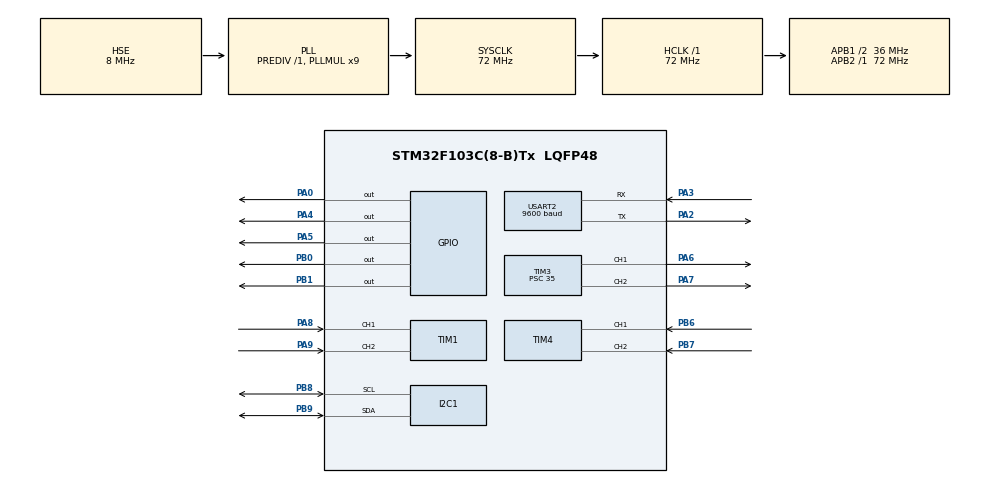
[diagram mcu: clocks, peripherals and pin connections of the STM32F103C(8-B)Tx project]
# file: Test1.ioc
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I2C1.I2C_Mode=I2C_Fast
Mcu.Family=STM32F1
Mcu.Name=STM32F103C(8-B)Tx
Mcu.Package=LQFP48
NVIC.PriorityGroup=NVIC_PRIORITYGROUP_4
NVIC.TIM2_IRQn=true\:0\:0\:false\:false\:true\:true\:true\:true
PA0-WKUP.GPIO_Speed=GPIO_SPEED_FREQ_HIGH
PA0-WKUP.PinState=GPIO_PIN_SET
PA0-WKUP.Signal=GPIO_Output
PA13.Mode=Serial_Wire
PA13.Signal=SYS_JTMS-SWDIO
PA14.Mode=Serial_Wire
PA14.Signal=SYS_JTCK-SWCLK
PA2.Mode=Asynchronous
PA2.Signal=USART2_TX
PA3.Mode=Asynchronous
PA3.Signal=USART2_RX
PA4.GPIO_Speed=GPIO_SPEED_FREQ_HIGH
PA4.Signal=GPIO_Output
PA5.GPIO_Speed=GPIO_SPEED_FREQ_HIGH
PA5.Signal=GPIO_Output
PA6.Signal=S_TIM3_CH1
PA7.Signal=S_TIM3_CH2
PA8.Signal=S_TIM1_CH1
PA9.Signal=S_TIM1_CH2
PB0.GPIO_Speed=GPIO_SPEED_FREQ_HIGH
PB0.PinState=GPIO_PIN_RESET
PB0.Signal=GPIO_Output
PB1.GPIO_Speed=GPIO_SPEED_FREQ_HIGH
PB1.Signal=GPIO_Output
PB6.Signal=S_TIM4_CH1
PB7.Signal=S_TIM4_CH2
PB8.Mode=I2C
PB8.Signal=I2C1_SCL
PB9.Mode=I2C
PB9.Signal=I2C1_SDA
PD0-OSC_IN.Mode=HSE-External-Oscillator
PD0-OSC_IN.Signal=RCC_OSC_IN
PD1-OSC_OUT.Mode=HSE-External-Oscillator
PD1-OSC_OUT.Signal=RCC_OSC_OUT
ProjectManager.HeapSize=0x200
ProjectManager.StackSize=0x400
ProjectManager.TargetToolchain=STM32CubeIDE
RCC.AHBFreq_Value=72000000
RCC.APB1CLKDivider=RCC_HCLK_DIV2
RCC.APB1Freq_Value=36000000
RCC.APB1TimFreq_Value=72000000
RCC.APB2Freq_Value=72000000
RCC.APB2TimFreq_Value=72000000
RCC.HCLKFreq_Value=72000000
RCC.PLLMUL=RCC_PLL_MUL9
RCC.PLLSourceVirtual=RCC_PLLSOURCE_HSE
RCC.SYSCLKFreq_VALUE=72000000
RCC.SYSCLKSource=RCC_SYSCLKSOURCE_PLLCLK
RCC.USBFreq_Value=72000000
SH.S_TIM1_CH1.0=TIM1_CH1,Encoder_Interface
SH.S_TIM1_CH2.0=TIM1_CH2,Encoder_Interface
SH.S_TIM3_CH1.0=TIM3_CH1,PWM Generation1 CH1
SH.S_TIM3_CH2.0=TIM3_CH2,PWM Generation2 CH2
SH.S_TIM4_CH1.0=TIM4_CH1,Encoder_Interface
SH.S_TIM4_CH2.0=TIM4_CH2,Encoder_Interface
TIM1.AutoReloadPreload=TIM_AUTORELOAD_PRELOAD_ENABLE
TIM1.EncoderMode=TIM_ENCODERMODE_TI12
TIM2.AutoReloadPreload=TIM_AUTORELOAD_PRELOAD_ENABLE
TIM2.Period=1000-1
TIM2.Prescaler=7200-1
TIM3.AutoReloadPreload=TIM_AUTORELOAD_PRELOAD_ENABLE
TIM3.Channel-PWM\ Generation1\ CH1=TIM_CHANNEL_1
TIM3.Channel-PWM\ Generation2\ CH2=TIM_CHANNEL_2
TIM3.Period=99
TIM3.Prescaler=35
TIM4.AutoReloadPreload=TIM_AUTORELOAD_PRELOAD_ENABLE
TIM4.EncoderMode=TIM_ENCODERMODE_TI12
USART2.BaudRate=9600
USART2.Mode=MODE_TX
USART2.VirtualMode=VM_ASYNC
VP_TIM2_VS_ClockSourceINT.Mode=Internal
VP_TIM3_VS_ClockSourceINT.Mode=Internal
board=custom

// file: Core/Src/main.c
/* USER CODE BEGIN Header */
/**
  ******************************************************************************
  * @file           : main.c
  * @brief          : Main program body
  ******************************************************************************
  * @attention
  *
  * Copyright (c) 2024 STMicroelectronics.
  * All rights reserved.
  *
  * This software is licensed under terms that can be found in the LICENSE file
  * in the root directory of this software component.
  * If no LICENSE file comes with this software, it is provided AS-IS.
  *
  ******************************************************************************
  */
/* USER CODE END Header */
#include "main.h"
#include "i2c.h"
#include "tim.h"
#include "usart.h"
#include "gpio.h"

/* USER CODE BEGIN Includes */
#include "MPU6050.h"
#include "Motor.h"
//#include "Encoder.h"

/* USER CODE END Includes */

void SystemClock_Config(void);

/* USER CODE BEGIN 0 */
int16_t  Speed1;
int16_t  Speed2;
float  control;

unsigned char tx_data[20];
unsigned char sumcheck = 0;
unsigned char addcheck = 0;
unsigned char i = 0;
/* USER CODE END 0 */

int main(void)
{

  /* MCU Configuration--------------------------------------------------------*/

  /* Reset of all peripherals, Initializes the Flash interface and the Systick. */
  HAL_Init();

  /* Configure the system clock */
  SystemClock_Config();

  /* Initialize all configured peripherals */
  MX_GPIO_Init();
  MX_TIM3_Init();
  MX_USART2_UART_Init();
  MX_TIM2_Init();
  MX_TIM4_Init();
  MX_I2C1_Init();
  MX_TIM1_Init();
  /* USER CODE BEGIN 2 */
    HAL_TIM_PWM_Start(&htim3,  TIM_CHANNEL_1 );

    HAL_TIM_PWM_Start(&htim3,  TIM_CHANNEL_2 );
    HAL_TIM_Encoder_Start(&htim4,TIM_CHANNEL_1|TIM_CHANNEL_2);
    HAL_TIM_Encoder_Start(&htim1,TIM_CHANNEL_1|TIM_CHANNEL_2);
    HAL_TIM_Base_Start_IT(&htim2);

    mpu_dmp_init();
    float pitch,roll,yaw;

   Motor2_SetSpeed(100);

    Motor1_SetSpeed(100);
  /* USER CODE END 2 */

  /* Infinite loop */
  /* USER CODE BEGIN WHILE */
  while (1)
  {    //HAL_Delay(100);
   /* mpu_dmp_get_data(&pitch,&roll,&yaw);
      printf("%f,%f,%f\n",pitch,roll,yaw );*/
      printf("%d,%d\n",Speed1,Speed2);

    /* USER CODE END WHILE */

  }
}

void SystemClock_Config(void)
{
  RCC_OscInitTypeDef RCC_OscInitStruct = {0};
  RCC_ClkInitTypeDef RCC_ClkInitStruct = {0};

  /** Initializes the RCC Oscillators according to the specified parameters
  * in the RCC_OscInitTypeDef structure.
  */
  RCC_OscInitStruct.OscillatorType = RCC_OSCILLATORTYPE_HSE;
  RCC_OscInitStruct.HSEState = RCC_HSE_ON;
  RCC_OscInitStruct.HSEPredivValue = RCC_HSE_PREDIV_DIV1;
  RCC_OscInitStruct.HSIState = RCC_HSI_ON;
  RCC_OscInitStruct.PLL.PLLState = RCC_PLL_ON;
  RCC_OscInitStruct.PLL.PLLSource = RCC_PLLSOURCE_HSE;
  RCC_OscInitStruct.PLL.PLLMUL = RCC_PLL_MUL9;
  if (HAL_RCC_OscConfig(&RCC_OscInitStruct) != HAL_OK)
  {
    Error_Handler();
  }

  /** Initializes the CPU, AHB and APB buses clocks
  */
  RCC_ClkInitStruct.ClockType = RCC_CLOCKTYPE_HCLK|RCC_CLOCKTYPE_SYSCLK
                              |RCC_CLOCKTYPE_PCLK1|RCC_CLOCKTYPE_PCLK2;
  RCC_ClkInitStruct.SYSCLKSource = RCC_SYSCLKSOURCE_PLLCLK;
  RCC_ClkInitStruct.AHBCLKDivider = RCC_SYSCLK_DIV1;
  RCC_ClkInitStruct.APB1CLKDivider = RCC_HCLK_DIV2;
  RCC_ClkInitStruct.APB2CLKDivider = RCC_HCLK_DIV1;

  if (HAL_RCC_ClockConfig(&RCC_ClkInitStruct, FLASH_LATENCY_2) != HAL_OK)
  {
    Error_Handler();
  }
}

void Error_Handler(void)
{
  __disable_irq();
  while (1)
  {
  }
}
